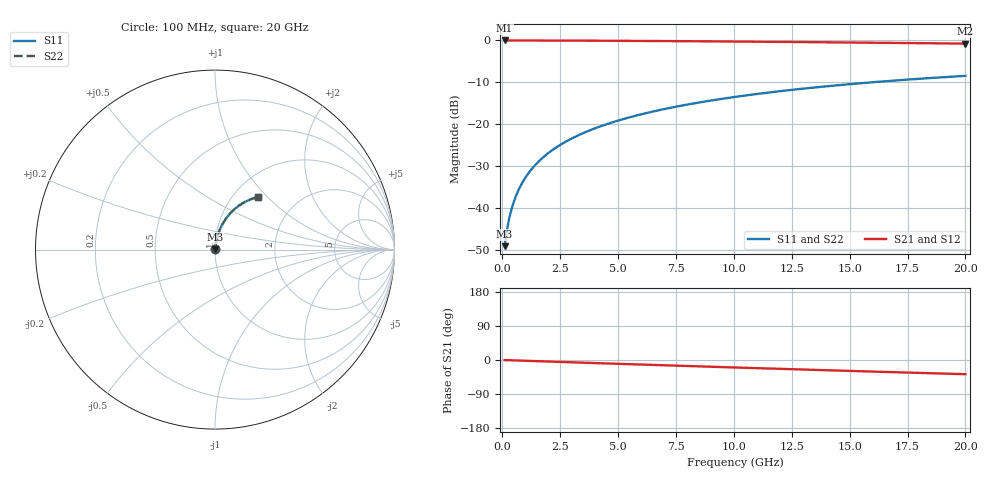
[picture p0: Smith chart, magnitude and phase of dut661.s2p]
! Touchstone file exported from HFSS 2026.1.0
!  File:  C:/ffzhzh/LocalFiles/Ansys_Project_Files/temp_train_BSMRDL_661_1783017153_55676.aedt
!  Generated:  02:34:02 AM Jul  3, 2026
!  Design:  BSMRDL
!  Project:  temp_train_BSMRDL_661_1783017153_55676
! Variables:
!  h_bsmrdl = 5.77um
!  h_ox = 20um
!  h_rdl = 5um
!  h_sub = 80um
!  h_tmrdl = 5um
!  h_tsv = 80um
!  h_via = 3um
!  l_bsmrdl = 534.89um
!  l_sub = 934.89um
!  l_tmrdl = 200um
!  m_sub = 200um
!  pitch = 40.47um
!  r_tsv = 6um
!  s_tmrdl = 10um
!  w_bsmrdl = 13.12um
!  w_sub = 500um
!  w_tmrdl = 12um
!  x_tsv_center1 = 206um
!  x_tsv_center2 = 754.01um
!  x_tsv_center3 = 966.01um
!  x_tsv_center4 = 1514.02um
!  x_tsv_center5 = 1726.02um
!  x_tsv_center6 = 2274.03um
# GHz S MA R 50.000000
! Terminal data exported
! Port[1] = BSM_RDL1_1_T1
! Port[2] = BSM_RDL1_1_T2
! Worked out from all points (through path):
!   200 points, 100 MHz to 20 GHz, reference 50 ohm
!   highest |S21| = -0.02 dB at 100 MHz (marker M1); lowest = -0.8 dB at 20 GHz (marker M2)
!   group delay of S21, straight-line fit = 5.2 ps
!   lowest |S11| = -49.1 dB at 100 MHz (marker M3), VSWR 1.01, Z = 50.3 + j0.239 ohm
!   |S11| at or under -10 dB: start of sweep to 15.98 GHz
!   |S22| runs from -49.1 to -8.5 dB; largest |S21 - S12| = 3.5e-15
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0.1  0.00351 42.7  0.9974 -0.2  0.9974 -0.2  0.00351 42.7
! Gamma 0 0 0 0
! Port Impedance 50 0 50 0
0.2  0.005425 60.4  0.9973 -0.4  0.9973 -0.4  0.005425 60.4
0.3  0.007545 68.2  0.9972 -0.6  0.9972 -0.6  0.007545 68.2
0.4  0.009723 72.5  0.9972 -0.8  0.9972 -0.8  0.009723 72.5
0.5  0.01193 75.2  0.9971 -1.0  0.9971 -1.0  0.01193 75.2
0.6  0.01415 77.0  0.997 -1.2  0.997 -1.2  0.01415 77.0
0.8  0.01862 79.1  0.9969 -1.7  0.9969 -1.7  0.01862 79.1
1.1  0.02536 80.7  0.9966 -2.3  0.9966 -2.3  0.02536 80.7
1.5  0.03436 81.3  0.9961 -3.1  0.9961 -3.1  0.03436 81.3
1.8  0.04108 81.4  0.9956 -3.7  0.9956 -3.7  0.04108 81.4
2.1  0.04777 81.2  0.9951 -4.3  0.9951 -4.3  0.04777 81.2
2.7  0.06104 80.5  0.9939 -5.5  0.9939 -5.5  0.06104 80.5
3.5  0.07849 79.3  0.9921 -7.1  0.9921 -7.1  0.07849 79.3
4.2  0.09352 78.2  0.9902 -8.5  0.9902 -8.5  0.09352 78.2
5  0.1104 76.8  0.9879 -10.1  0.9879 -10.1  0.1104 76.8
5.9  0.1292 75.2  0.985 -11.8  0.985 -11.8  0.1292 75.2
6.8  0.1476 73.6  0.9818 -13.6  0.9818 -13.6  0.1476 73.6
8.3  0.1776 70.9  0.9761 -16.5  0.9761 -16.5  0.1776 70.9
10.1  0.2125 67.8  0.9683 -19.9  0.9683 -19.9  0.2125 67.8
13.4  0.2728 62.0  0.9522 -25.9  0.9522 -25.9  0.2728 62.0
16.7  0.3279 56.3  0.934 -31.8  0.934 -31.8  0.3279 56.3
20  0.3775 50.8  0.9147 -37.5  0.9147 -37.5  0.3775 50.8
